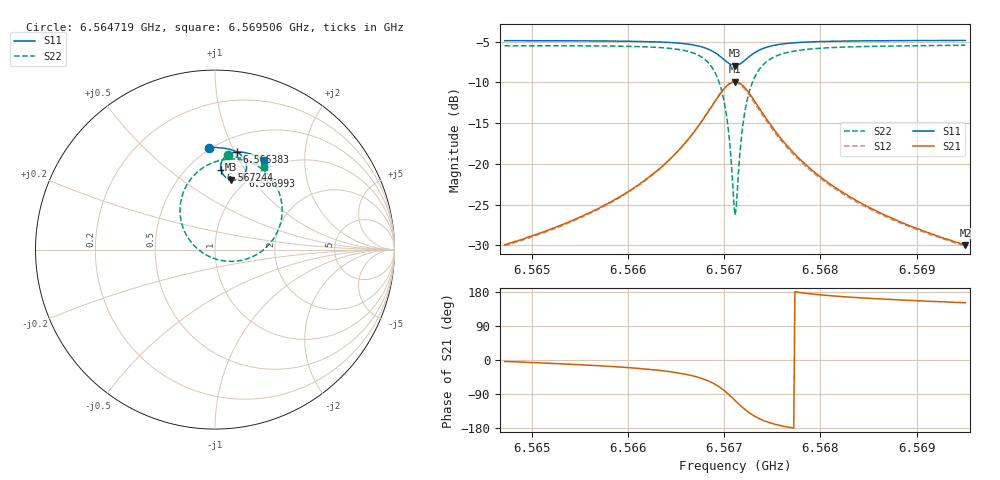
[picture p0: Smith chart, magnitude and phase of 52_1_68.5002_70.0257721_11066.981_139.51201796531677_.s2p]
#  HZ  S  RI  R  50.00
! Rohde & Schwarz Vector Network Analyzer
! Rohde-Schwarz,ZNB20-2Port,1311601062101988,3.16
! Created: UTC 3/20/2024, 4:50:52 PM
! freq[Hz]  re:S11  im:S11  re:S21  im:S21  re:S12  im:S12  re:S22  im:S22
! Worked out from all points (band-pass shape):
!   401 points, 6.564719 GHz to 6.569506 GHz, reference 50 ohm
!   highest |S21| = -9.93 dB at 6.567113 GHz (marker M1); lowest = -30.0 dB at 6.569506 GHz (marker M2)
!   |S21| within 3 dB of the highest: 6.566872 GHz to 6.567352 GHz (479.8 kHz wide, 0.00731 % of centre)
!   lowest |S11| = -8.0 dB at 6.567113 GHz (marker M3), VSWR 2.33, Z = 42.6 + j39.6 ohm
!   |S11| at or under -10 dB: nowhere
!   |S22| runs from -26.3 to -5.4 dB; largest |S21 - S12| = 0.017
!   S11 on the Smith chart (normalised r, x): 6.564719 GHz: 0.49, +0.82; 6.566383 GHz: 0.65, +1.02; 6.566993 GHz: 0.92, +0.93; 6.567244 GHz: 0.71, +0.79; 6.569506 GHz: 0.87, +1.29
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6.5647195e9  -0.0334 0.5684  0.0318 -0.00211  0.0314 -0.00253  0.0705 0.5248
6.5655212e9  0.0342 0.5669  0.0464 -0.0106  0.0457 -0.0112  0.1524 0.5066
6.56594e9  0.0731 0.5607  0.0607 -0.0208  0.0596 -0.0216  0.2067 0.4841
6.5663229e9  0.114 0.5472  0.0826 -0.0425  0.0813 -0.0435  0.2733 0.4391
6.5663827e9  0.1212 0.5437  0.0872 -0.0484  0.0861 -0.0495  0.286 0.4274
6.5666221e9  0.152 0.5207  0.1094 -0.0879  0.1078 -0.0898  0.343 0.3499
6.5668016e9  0.1733 0.4838  0.1208 -0.1534  0.1177 -0.1568  0.3743 0.2237
6.5669093e9  0.1744 0.4457  0.1041 -0.2201  0.0978 -0.225  0.3463 0.0957
6.566993e9  0.1554 0.4104  0.0538 -0.2806  0.0427 -0.2839  0.2511 -0.0155
6.5670409e9  0.1325 0.3945  0.00338 -0.3055  -0.0107 -0.306  0.1566 -0.058
6.5670887e9  0.1028 0.3885  -0.0588 -0.3119  -0.0741 -0.3071  0.0431 -0.062
6.5671127e9  0.0871 0.3903  -0.0908 -0.3055  -0.1055 -0.2982  -0.0134 -0.0466
6.5671366e9  0.0722 0.3958  -0.121 -0.293  -0.1344 -0.2833  -0.0652 -0.0201
6.5671725e9  0.0533 0.409  -0.1592 -0.265  -0.1694 -0.2523  -0.128 0.0354
6.5671964e9  0.044 0.4204  -0.1785 -0.242  -0.1864 -0.2283  -0.1581 0.0789
6.5672443e9  0.0334 0.4451  -0.2018 -0.193  -0.2052 -0.1791  -0.1903 0.1681
6.56734e9  0.0366 0.4883  -0.2034 -0.1098  -0.2014 -0.0992  -0.1784 0.3134
6.5674836e9  0.0636 0.5238  -0.1681 -0.0408  -0.1643 -0.0351  -0.1018 0.4288
6.5676512e9  0.0953 0.5393  -0.1295 -0.0079  -0.1261 -0.00482  -0.0211 0.4809
6.5679144e9  0.1342 0.5439  -0.0909 0.00941  -0.0885 0.0107  0.0647 0.5031
6.5687161e9  0.2144 0.5273  -0.0443 0.0163  -0.0432 0.0166  0.1984 0.4893
6.5695059e9  0.2754 0.5003  -0.0279 0.0153  -0.0272 0.0155  0.2748 0.4579
